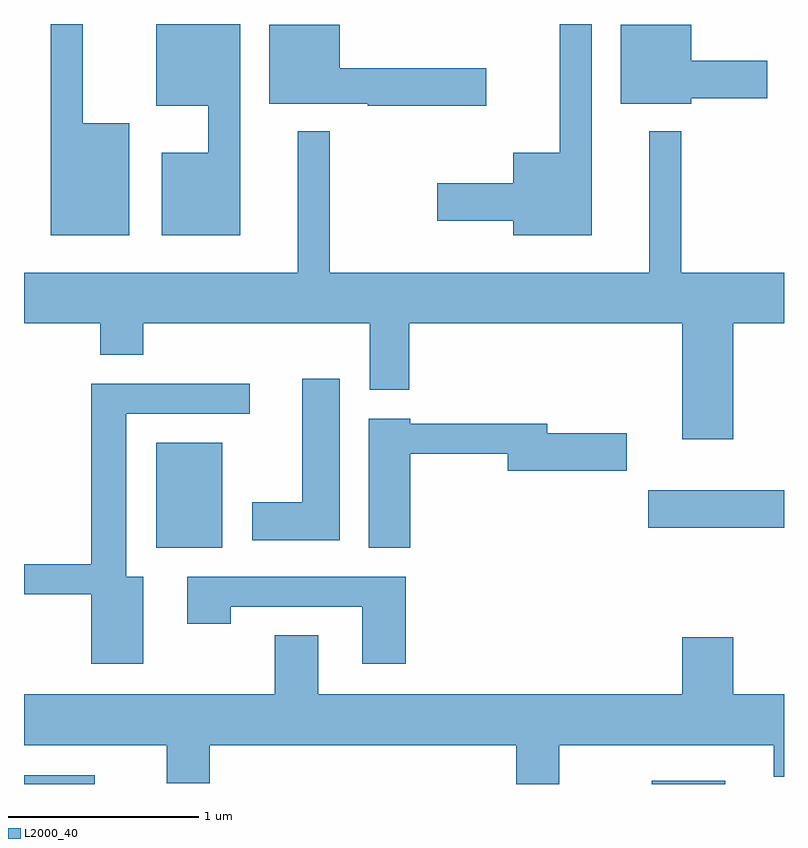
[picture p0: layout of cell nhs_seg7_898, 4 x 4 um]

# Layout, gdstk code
import gdstk
lib = gdstk.Library(unit=1e-6, precision=1e-09)
def R(c, l, rs):  # rectangles x0, y0, x1, y1
    for r in rs: c.add(gdstk.rectangle(r[:2], r[2:], *l))
def P(c, l, *ps):  # polygons
    for p in ps: c.add(gdstk.Polygon(p, *l))
L2000_40 = (2000, 40)

nhs_seg7_898 = lib.new_cell('nhs_seg7_898')
R(nhs_seg7_898, L2000_40, [(211.611,1796.252,211.983,1796.299), (214.916,1796.252,215.303,1796.269), (212.306,1797.496,212.654,1798.049), (214.896,1797.601,215.611,1797.799)])
P(nhs_seg7_898, L2000_40, [(212.164,1799.729),(211.919,1799.729),(211.919,1800.252),(211.751,1800.252),(211.751,1799.141),(212.164,1799.141)],
  [(214.599,1800.252),(214.431,1800.252),(214.431,1799.574),(214.186,1799.574),(214.186,1799.414),(213.786,1799.414),(213.786,1799.216),(214.186,1799.216),(214.186,1799.141),(214.599,1799.141)],
  [(212.749,1800.252),(212.306,1800.252),(212.306,1799.821),(212.581,1799.821),(212.581,1799.574),(212.336,1799.574),(212.336,1799.141),(212.749,1799.141)],
  [(215.124,1799.861),(215.524,1799.861),(215.524,1800.059),(215.124,1800.059),(215.124,1800.249),(214.751,1800.249),(214.751,1799.831),(215.124,1799.831)],
  [(214.044,1800.019),(213.274,1800.019),(213.274,1800.249),(212.901,1800.249),(212.901,1799.831),(213.42,1799.831),(213.42,1799.821),(214.044,1799.821)],
  [(215.344,1798.676),(215.611,1798.676),(215.611,1798.944),(215.069,1798.944),(215.069,1799.688),(214.901,1799.688),(214.901,1798.944),(213.219,1798.944),(213.219,1799.688),(213.051,1799.688),(213.051,1798.944),(211.611,1798.944),(211.611,1798.676),(212.011,1798.676),(212.011,1798.511),(212.239,1798.511),(212.239,1798.676),(213.431,1798.676),(213.431,1798.326),(213.639,1798.326),(213.639,1798.676),(215.076,1798.676),(215.076,1798.066),(215.344,1798.066)],
  [(213.274,1798.384),(213.076,1798.384),(213.076,1797.734),(212.811,1797.734),(212.811,1797.536),(213.274,1797.536)],
  [(212.239,1797.344),(212.149,1797.344),(212.149,1798.201),(212.798,1798.201),(212.798,1798.359),(211.966,1798.359),(211.966,1797.409),(211.611,1797.409),(211.611,1797.251),(211.966,1797.251),(211.966,1796.886),(212.239,1796.886)],
  [(213.644,1797.991),(214.156,1797.991),(214.156,1797.901),(214.784,1797.901),(214.784,1798.099),(214.364,1798.099),(214.364,1798.149),(213.644,1798.149),(213.644,1798.174),(213.426,1798.174),(213.426,1797.496),(213.644,1797.496)],
  [(213.619,1797.344),(212.471,1797.344),(212.471,1797.096),(212.699,1797.096),(212.699,1797.186),(213.391,1797.186),(213.391,1796.886),(213.619,1796.886)],
  [(214.429,1796.456),(215.556,1796.456),(215.556,1796.291),(215.611,1796.291),(215.611,1796.724),(215.344,1796.724),(215.344,1797.024),(215.076,1797.024),(215.076,1796.724),(213.159,1796.724),(213.159,1797.034),(212.931,1797.034),(212.931,1796.724),(211.611,1796.724),(211.611,1796.456),(212.361,1796.456),(212.361,1796.256),(212.589,1796.256),(212.589,1796.456),(214.201,1796.456),(214.201,1796.252),(214.429,1796.252)])

lib.write_gds('nhs_seg7_898.gds')
